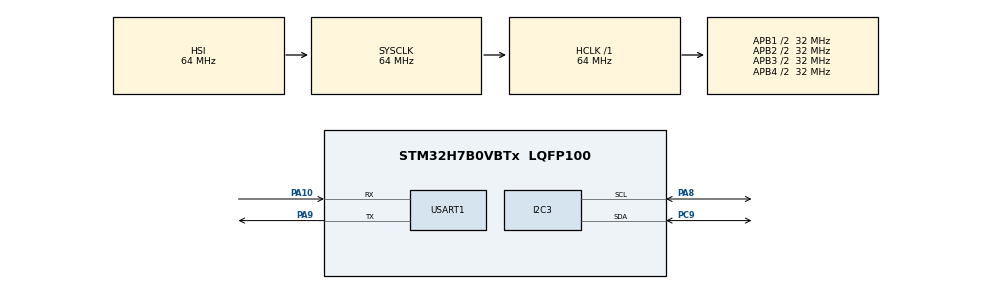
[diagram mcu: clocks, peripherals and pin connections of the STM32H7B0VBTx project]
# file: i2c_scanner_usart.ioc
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I2C3.Timing=0x00707CBB
Mcu.Family=STM32H7
Mcu.Name=STM32H7B0VBTx
Mcu.Package=LQFP100
NVIC.PriorityGroup=NVIC_PRIORITYGROUP_4
NVIC.USART1_IRQn=true\:0\:0\:false\:false\:true\:true\:true\:true
PA10.Mode=Asynchronous
PA10.Signal=USART1_RX
PA8.Mode=I2C
PA8.Signal=I2C3_SCL
PA9.Mode=Asynchronous
PA9.Signal=USART1_TX
PC9.Mode=I2C
PC9.Signal=I2C3_SDA
ProjectManager.HeapSize=0x200
ProjectManager.StackSize=0x400
ProjectManager.TargetToolchain=STM32CubeIDE
RCC.ADCFreq_Value=129000000
RCC.APB1Freq_Value=32000000
RCC.APB2Freq_Value=32000000
RCC.APB3Freq_Value=32000000
RCC.APB4Freq_Value=32000000
RCC.CDPPRE=RCC_APB3_DIV2
RCC.CDPPRE1=RCC_APB1_DIV2
RCC.CDPPRE2=RCC_APB2_DIV2
RCC.CortexFreq_Value=64000000
RCC.HCLKFreq_Value=64000000
RCC.SRDPPRE=RCC_APB4_DIV2
RCC.SYSCLKFreq_VALUE=64000000
RCC.USBFreq_Value=129000000
USART1.VirtualMode-Asynchronous=VM_ASYNC
board=custom

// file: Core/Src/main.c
/* USER CODE BEGIN Header */
/**
  ******************************************************************************
  * @file           : main.c
  * @brief          : Main program body
  ******************************************************************************
  * @attention
  *
  * Copyright (c) 2022 STMicroelectronics.
  * All rights reserved.
  *
  * This software is licensed under terms that can be found in the LICENSE file
  * in the root directory of this software component.
  * If no LICENSE file comes with this software, it is provided AS-IS.
  *
  ******************************************************************************
  */
/* USER CODE END Header */
#include "main.h"

I2C_HandleTypeDef hi2c3;

UART_HandleTypeDef huart1;

void SystemClock_Config(void);
static void MX_GPIO_Init(void);
static void MX_I2C3_Init(void);
static void MX_USART1_UART_Init(void);

/* USER CODE BEGIN 0 */

uint8_t Space[] = " - ";
uint8_t StartMSG[] = "\r\n Starting I2C Scanning: \r\n";
uint8_t EndMSG[] = "Done! \r\n\r\n";
uint8_t i = 0, ret;

uint8_t Init[] = "SSM3582a Initialization \r\n\r\n";

char buf[25] = {0,};
/* USER CODE END 0 */

int main(void)
{

  /* MCU Configuration--------------------------------------------------------*/

  /* Reset of all peripherals, Initializes the Flash interface and the Systick. */
  HAL_Init();

  /* Configure the system clock */
  SystemClock_Config();

  /* Initialize all configured peripherals */
  MX_GPIO_Init();
  MX_I2C3_Init();
  MX_USART1_UART_Init();
  /* USER CODE BEGIN 2 */
  HAL_UART_Transmit(&huart1, StartMSG, sizeof(StartMSG), 10000);
  for(i=1; i<128; i++)
  {
     ret = HAL_I2C_IsDeviceReady(&hi2c3, (uint16_t)(i<<1), 3, 5);
      if (ret != HAL_OK) /* No ACK Received At That Address */
      {
          HAL_UART_Transmit(&huart1, Space, sizeof(Space), 10000);
      }
      else if(ret == HAL_OK)
       if (ret == HAL_OK)
     {
    	  sprintf(buf, "0x%X \r\n", i);
          HAL_UART_Transmit(&huart1, (uint8_t *)buf, sizeof(buf), 10000);
      }
  }
  HAL_UART_Transmit(&huart1, (uint8_t *)EndMSG, sizeof(EndMSG), 10000);
  HAL_UART_Transmit(&huart1, (uint8_t *)Init, sizeof(Init), 10000);

  /* USER CODE END 2 */

  /* Infinite loop */
  while (1)
  {

  }
}

void SystemClock_Config(void)
{
  RCC_OscInitTypeDef RCC_OscInitStruct = {0};
  RCC_ClkInitTypeDef RCC_ClkInitStruct = {0};

  /*AXI clock gating */
  RCC->CKGAENR = 0xFFFFFFFF;

  /** Supply configuration update enable
  */
  HAL_PWREx_ConfigSupply(PWR_LDO_SUPPLY);

  /** Configure the main internal regulator output voltage
  */
  __HAL_PWR_VOLTAGESCALING_CONFIG(PWR_REGULATOR_VOLTAGE_SCALE3);

  while(!__HAL_PWR_GET_FLAG(PWR_FLAG_VOSRDY)) {}

  /** Initializes the RCC Oscillators according to the specified parameters
  * in the RCC_OscInitTypeDef structure.
  */
  RCC_OscInitStruct.OscillatorType = RCC_OSCILLATORTYPE_HSI;
  RCC_OscInitStruct.HSIState = RCC_HSI_DIV1;
  RCC_OscInitStruct.HSICalibrationValue = 64;
  RCC_OscInitStruct.PLL.PLLState = RCC_PLL_NONE;
  if (HAL_RCC_OscConfig(&RCC_OscInitStruct) != HAL_OK)
  {
    Error_Handler();
  }

  /** Initializes the CPU, AHB and APB buses clocks
  */
  RCC_ClkInitStruct.ClockType = RCC_CLOCKTYPE_HCLK|RCC_CLOCKTYPE_SYSCLK
                              |RCC_CLOCKTYPE_PCLK1|RCC_CLOCKTYPE_PCLK2
                              |RCC_CLOCKTYPE_D3PCLK1|RCC_CLOCKTYPE_D1PCLK1;
  RCC_ClkInitStruct.SYSCLKSource = RCC_SYSCLKSOURCE_HSI;
  RCC_ClkInitStruct.SYSCLKDivider = RCC_SYSCLK_DIV1;
  RCC_ClkInitStruct.AHBCLKDivider = RCC_HCLK_DIV1;
  RCC_ClkInitStruct.APB3CLKDivider = RCC_APB3_DIV2;
  RCC_ClkInitStruct.APB1CLKDivider = RCC_APB1_DIV2;
  RCC_ClkInitStruct.APB2CLKDivider = RCC_APB2_DIV2;
  RCC_ClkInitStruct.APB4CLKDivider = RCC_APB4_DIV2;

  if (HAL_RCC_ClockConfig(&RCC_ClkInitStruct, FLASH_LATENCY_2) != HAL_OK)
  {
    Error_Handler();
  }
}

static void MX_I2C3_Init(void)
{

  hi2c3.Instance = I2C3;
  hi2c3.Init.Timing = 0x00707CBB;
  hi2c3.Init.OwnAddress1 = 0;
  hi2c3.Init.AddressingMode = I2C_ADDRESSINGMODE_7BIT;
  hi2c3.Init.DualAddressMode = I2C_DUALADDRESS_DISABLE;
  hi2c3.Init.OwnAddress2 = 0;
  hi2c3.Init.OwnAddress2Masks = I2C_OA2_NOMASK;
  hi2c3.Init.GeneralCallMode = I2C_GENERALCALL_DISABLE;
  hi2c3.Init.NoStretchMode = I2C_NOSTRETCH_DISABLE;
  if (HAL_I2C_Init(&hi2c3) != HAL_OK)
  {
    Error_Handler();
  }

  /** Configure Analogue filter
  */
  if (HAL_I2CEx_ConfigAnalogFilter(&hi2c3, I2C_ANALOGFILTER_ENABLE) != HAL_OK)
  {
    Error_Handler();
  }

  /** Configure Digital filter
  */
  if (HAL_I2CEx_ConfigDigitalFilter(&hi2c3, 0) != HAL_OK)
  {
    Error_Handler();
  }

}

static void MX_USART1_UART_Init(void)
{

  huart1.Instance = USART1;
  huart1.Init.BaudRate = 115200;
  huart1.Init.WordLength = UART_WORDLENGTH_8B;
  huart1.Init.StopBits = UART_STOPBITS_1;
  huart1.Init.Parity = UART_PARITY_NONE;
  huart1.Init.Mode = UART_MODE_TX_RX;
  huart1.Init.HwFlowCtl = UART_HWCONTROL_NONE;
  huart1.Init.OverSampling = UART_OVERSAMPLING_16;
  huart1.Init.OneBitSampling = UART_ONE_BIT_SAMPLE_DISABLE;
  huart1.Init.ClockPrescaler = UART_PRESCALER_DIV1;
  huart1.AdvancedInit.AdvFeatureInit = UART_ADVFEATURE_NO_INIT;
  if (HAL_UART_Init(&huart1) != HAL_OK)
  {
    Error_Handler();
  }
  if (HAL_UARTEx_SetTxFifoThreshold(&huart1, UART_TXFIFO_THRESHOLD_1_8) != HAL_OK)
  {
    Error_Handler();
  }
  if (HAL_UARTEx_SetRxFifoThreshold(&huart1, UART_RXFIFO_THRESHOLD_1_8) != HAL_OK)
  {
    Error_Handler();
  }
  if (HAL_UARTEx_DisableFifoMode(&huart1) != HAL_OK)
  {
    Error_Handler();
  }

}

static void MX_GPIO_Init(void)
{

  /* GPIO Ports Clock Enable */
  __HAL_RCC_GPIOC_CLK_ENABLE();
  __HAL_RCC_GPIOA_CLK_ENABLE();

}

void Error_Handler(void)
{
  __disable_irq();
  while (1)
  {
  }
}
